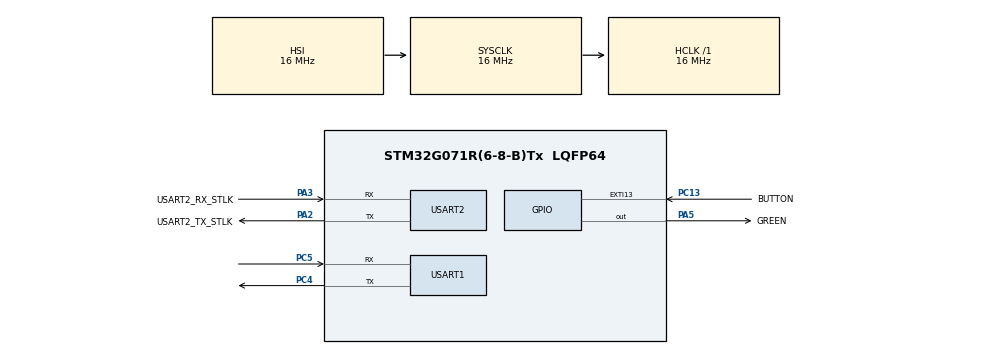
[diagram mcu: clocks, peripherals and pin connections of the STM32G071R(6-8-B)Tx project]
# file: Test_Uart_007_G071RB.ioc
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Mcu.Family=STM32G0
Mcu.Name=STM32G071R(6-8-B)Tx
Mcu.Package=LQFP64
NVIC.TIM6_DAC_LPTIM1_IRQn=true\:0\:0\:false\:false\:true\:true\:true\:true
PA13.GPIO_Label=TMS
PA13.Mode=Serial_Wire
PA13.Signal=SYS_SWDIO
PA14-BOOT0.GPIO_Label=TCK
PA14-BOOT0.Mode=Serial_Wire
PA14-BOOT0.Signal=SYS_SWCLK
PA2.GPIO_Label=USART2_TX_STLK
PA2.GPIO_PuPd=GPIO_PULLUP
PA2.Mode=Asynchronous
PA2.Signal=USART2_TX
PA3.GPIO_Label=USART2_RX_STLK
PA3.GPIO_PuPd=GPIO_PULLUP
PA3.Mode=Asynchronous
PA3.Signal=USART2_RX
PA5.GPIO_Label=GREEN
PA5.GPIO_Speed=GPIO_SPEED_FREQ_HIGH
PA5.Signal=GPIO_Output
PC13.GPIO_Label=BUTTON
PC13.Signal=GPXTI13
PC14-OSC32_IN\ (PC14).Mode=LSE-External-Oscillator
PC14-OSC32_IN\ (PC14).Signal=RCC_OSC32_IN
PC15-OSC32_OUT\ (PC15).Mode=LSE-External-Oscillator
PC15-OSC32_OUT\ (PC15).Signal=RCC_OSC32_OUT
PC4.Mode=Asynchronous
PC4.Signal=USART1_TX
PC5.Mode=Asynchronous
PC5.Signal=USART1_RX
PF0-OSC_IN\ (PF0).GPIO_Label=MCO
PF0-OSC_IN\ (PF0).Mode=HSE-External-Clock-Source
PF0-OSC_IN\ (PF0).Signal=RCC_OSC_IN
ProjectManager.HeapSize=0x200
ProjectManager.StackSize=0x400
ProjectManager.TargetToolchain=STM32CubeIDE
RCC.AHBFreq_Value=16000000
RCC.CortexFreq_Value=16000000
RCC.EXTERNAL_CLOCK_VALUE=12288000
RCC.HCLKFreq_Value=16000000
RCC.HSE_VALUE=8000000
RCC.HSI_VALUE=16000000
RCC.SYSCLKFreq_VALUE=16000000
RCC.VCOOutputFreq_Value=128000000
TIM6.Period=2000-1
TIM6.Prescaler=16000-1
USART1.VirtualMode-Asynchronous=VM_ASYNC
USART2.VirtualMode-Asynchronous=VM_ASYNC
VP_TIM6_VS_ClockSourceINT.Mode=Enable_Timer
board=NUCLEO-G071RB

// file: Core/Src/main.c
/* USER CODE BEGIN Header */
/**
  ******************************************************************************
  * @file           : main.c
  * @brief          : Main program body
  ******************************************************************************
  * @attention
  *
  * Copyright (c) 2022 STMicroelectronics.
  * All rights reserved.
  *
  * This software is licensed under terms that can be found in the LICENSE file
  * in the root directory of this software component.
  * If no LICENSE file comes with this software, it is provided AS-IS.
  *
  ******************************************************************************
  */
/* USER CODE END Header */
#include "main.h"

/* USER CODE BEGIN Includes */
#include <stdio.h>
#include <string.h>
/* USER CODE END Includes */

/* USER CODE BEGIN PD */
#define UART_TX_TIMEOUT 100
/* USER CODE END PD */

TIM_HandleTypeDef htim6;

UART_HandleTypeDef huart1;
UART_HandleTypeDef huart2;

/* USER CODE BEGIN PV */
const uint8_t       hello[]         = "HELLO Test_Uart_007_G071RB !\n" ;
const uint8_t		press[]			= "Press" ;
uint16_t			c				= 0 ;
HAL_StatusTypeDef   uart_status ;
/* USER CODE END PV */

void SystemClock_Config(void);
static void MX_GPIO_Init(void);
static void MX_USART2_UART_Init(void);
static void MX_TIM6_Init(void);
static void MX_USART1_UART_Init(void);

int main(void)
{

  /* MCU Configuration--------------------------------------------------------*/

  /* Reset of all peripherals, Initializes the Flash interface and the Systick. */
  HAL_Init();

  /* Configure the system clock */
  SystemClock_Config();

  /* Initialize all configured peripherals */
  MX_GPIO_Init();
  MX_USART2_UART_Init();
  MX_TIM6_Init();
  MX_USART1_UART_Init();
  /* USER CODE BEGIN 2 */
  HAL_TIM_Base_Start_IT ( &htim6 ) ;
  uart_status = HAL_UART_Transmit ( &huart2 , hello , strlen ( (const char*) hello ) , UART_TX_TIMEOUT ) ;
  /* USER CODE END 2 */

  /* Infinite loop */
  while (1)
  {

  }
}

void SystemClock_Config(void)
{
  RCC_OscInitTypeDef RCC_OscInitStruct = {0};
  RCC_ClkInitTypeDef RCC_ClkInitStruct = {0};

  /** Configure the main internal regulator output voltage
  */
  HAL_PWREx_ControlVoltageScaling(PWR_REGULATOR_VOLTAGE_SCALE1);

  /** Initializes the RCC Oscillators according to the specified parameters
  * in the RCC_OscInitTypeDef structure.
  */
  RCC_OscInitStruct.OscillatorType = RCC_OSCILLATORTYPE_HSI;
  RCC_OscInitStruct.HSIState = RCC_HSI_ON;
  RCC_OscInitStruct.HSIDiv = RCC_HSI_DIV1;
  RCC_OscInitStruct.HSICalibrationValue = RCC_HSICALIBRATION_DEFAULT;
  RCC_OscInitStruct.PLL.PLLState = RCC_PLL_NONE;
  if (HAL_RCC_OscConfig(&RCC_OscInitStruct) != HAL_OK)
  {
    Error_Handler();
  }

  /** Initializes the CPU, AHB and APB buses clocks
  */
  RCC_ClkInitStruct.ClockType = RCC_CLOCKTYPE_HCLK|RCC_CLOCKTYPE_SYSCLK
                              |RCC_CLOCKTYPE_PCLK1;
  RCC_ClkInitStruct.SYSCLKSource = RCC_SYSCLKSOURCE_HSI;
  RCC_ClkInitStruct.AHBCLKDivider = RCC_SYSCLK_DIV1;
  RCC_ClkInitStruct.APB1CLKDivider = RCC_HCLK_DIV1;

  if (HAL_RCC_ClockConfig(&RCC_ClkInitStruct, FLASH_LATENCY_0) != HAL_OK)
  {
    Error_Handler();
  }
}

static void MX_TIM6_Init(void)
{

  TIM_MasterConfigTypeDef sMasterConfig = {0};

  htim6.Instance = TIM6;
  htim6.Init.Prescaler = 16000-1;
  htim6.Init.CounterMode = TIM_COUNTERMODE_UP;
  htim6.Init.Period = 2000-1;
  htim6.Init.AutoReloadPreload = TIM_AUTORELOAD_PRELOAD_DISABLE;
  if (HAL_TIM_Base_Init(&htim6) != HAL_OK)
  {
    Error_Handler();
  }
  sMasterConfig.MasterOutputTrigger = TIM_TRGO_RESET;
  sMasterConfig.MasterSlaveMode = TIM_MASTERSLAVEMODE_DISABLE;
  if (HAL_TIMEx_MasterConfigSynchronization(&htim6, &sMasterConfig) != HAL_OK)
  {
    Error_Handler();
  }

}

static void MX_USART1_UART_Init(void)
{

  huart1.Instance = USART1;
  huart1.Init.BaudRate = 115200;
  huart1.Init.WordLength = UART_WORDLENGTH_8B;
  huart1.Init.StopBits = UART_STOPBITS_1;
  huart1.Init.Parity = UART_PARITY_NONE;
  huart1.Init.Mode = UART_MODE_TX_RX;
  huart1.Init.HwFlowCtl = UART_HWCONTROL_NONE;
  huart1.Init.OverSampling = UART_OVERSAMPLING_16;
  huart1.Init.OneBitSampling = UART_ONE_BIT_SAMPLE_DISABLE;
  huart1.Init.ClockPrescaler = UART_PRESCALER_DIV1;
  huart1.AdvancedInit.AdvFeatureInit = UART_ADVFEATURE_NO_INIT;
  if (HAL_UART_Init(&huart1) != HAL_OK)
  {
    Error_Handler();
  }
  if (HAL_UARTEx_SetTxFifoThreshold(&huart1, UART_TXFIFO_THRESHOLD_1_8) != HAL_OK)
  {
    Error_Handler();
  }
  if (HAL_UARTEx_SetRxFifoThreshold(&huart1, UART_RXFIFO_THRESHOLD_1_8) != HAL_OK)
  {
    Error_Handler();
  }
  if (HAL_UARTEx_DisableFifoMode(&huart1) != HAL_OK)
  {
    Error_Handler();
  }

}

static void MX_USART2_UART_Init(void)
{

  huart2.Instance = USART2;
  huart2.Init.BaudRate = 115200;
  huart2.Init.WordLength = UART_WORDLENGTH_8B;
  huart2.Init.StopBits = UART_STOPBITS_1;
  huart2.Init.Parity = UART_PARITY_NONE;
  huart2.Init.Mode = UART_MODE_TX_RX;
  huart2.Init.HwFlowCtl = UART_HWCONTROL_NONE;
  huart2.Init.OverSampling = UART_OVERSAMPLING_16;
  huart2.Init.OneBitSampling = UART_ONE_BIT_SAMPLE_DISABLE;
  huart2.Init.ClockPrescaler = UART_PRESCALER_DIV1;
  huart2.AdvancedInit.AdvFeatureInit = UART_ADVFEATURE_NO_INIT;
  if (HAL_UART_Init(&huart2) != HAL_OK)
  {
    Error_Handler();
  }
  if (HAL_UARTEx_SetTxFifoThreshold(&huart2, UART_TXFIFO_THRESHOLD_1_8) != HAL_OK)
  {
    Error_Handler();
  }
  if (HAL_UARTEx_SetRxFifoThreshold(&huart2, UART_RXFIFO_THRESHOLD_1_8) != HAL_OK)
  {
    Error_Handler();
  }
  if (HAL_UARTEx_DisableFifoMode(&huart2) != HAL_OK)
  {
    Error_Handler();
  }

}

static void MX_GPIO_Init(void)
{
  GPIO_InitTypeDef GPIO_InitStruct = {0};

  /* GPIO Ports Clock Enable */
  __HAL_RCC_GPIOC_CLK_ENABLE();
  __HAL_RCC_GPIOF_CLK_ENABLE();
  __HAL_RCC_GPIOA_CLK_ENABLE();

  /*Configure GPIO pin Output Level */
  HAL_GPIO_WritePin(GREEN_GPIO_Port, GREEN_Pin, GPIO_PIN_RESET);

  /*Configure GPIO pin : BUTTON_Pin */
  GPIO_InitStruct.Pin = BUTTON_Pin;
  GPIO_InitStruct.Mode = GPIO_MODE_IT_RISING;
  GPIO_InitStruct.Pull = GPIO_NOPULL;
  HAL_GPIO_Init(BUTTON_GPIO_Port, &GPIO_InitStruct);

  /*Configure GPIO pin : GREEN_Pin */
  GPIO_InitStruct.Pin = GREEN_Pin;
  GPIO_InitStruct.Mode = GPIO_MODE_OUTPUT_PP;
  GPIO_InitStruct.Pull = GPIO_NOPULL;
  GPIO_InitStruct.Speed = GPIO_SPEED_FREQ_HIGH;
  HAL_GPIO_Init(GREEN_GPIO_Port, &GPIO_InitStruct);

}

/* USER CODE BEGIN 4 */
void HAL_TIM_PeriodElapsedCallback ( TIM_HandleTypeDef *htim )
{
	char * tx_buff[10] ;
	if ( htim->Instance == TIM6 )
	{
		sprintf ( (char *) tx_buff , "%s %03u\n" , press , c ) ;
		uart_status = HAL_UART_Transmit ( &huart1 , (uint8_t*) tx_buff , strlen ( (const char*) tx_buff ) , UART_TX_TIMEOUT ) ;
		HAL_GPIO_TogglePin ( GREEN_GPIO_Port, GREEN_Pin ) ;
		c++ ;
	}
}

/* USER CODE END 4 */

void Error_Handler(void)
{
  __disable_irq();
  while (1)
  {
  }
}
